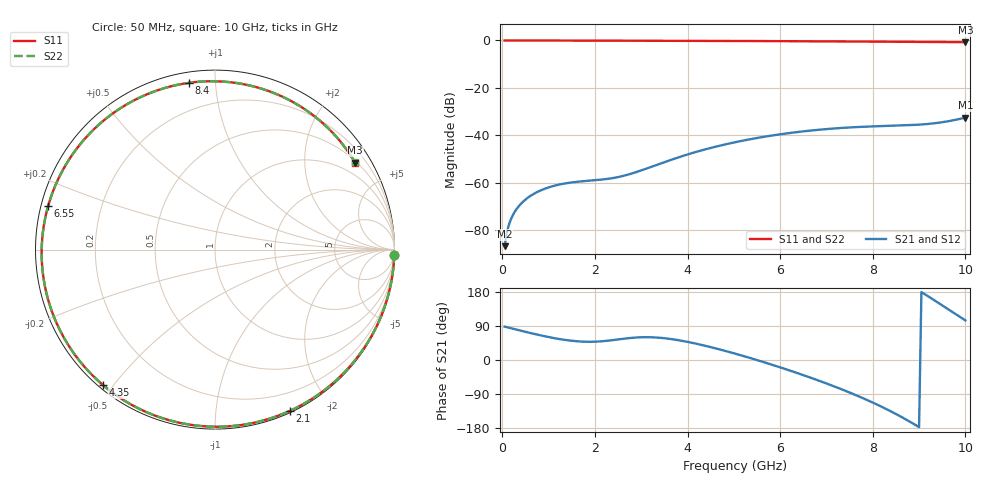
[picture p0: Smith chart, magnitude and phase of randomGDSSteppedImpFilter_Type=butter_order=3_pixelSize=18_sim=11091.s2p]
! freq	dB(S11)	phase(S11)	dB(S12)	phase(S12)
!  dB(S21)	phase(S21)	dB(S22)	phase(S22)
!S-par simulation data
#  GHz  S  DB  R 50
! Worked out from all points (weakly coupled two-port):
!   200 points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, 50 MHz to 10 GHz, reference 50 ohm
!   highest |S21| = -32.55 dB at 10 GHz (marker M1); lowest = -86.8 dB at 50 MHz (marker M2)
!   lowest |S11| = -0.7 dB at 10 GHz (marker M3), VSWR 23.55, Z = 27.7 + j172 ohm
!   |S11| at or under -10 dB: nowhere
!   |S22| runs from -0.7 to 0.0 dB; largest |S21 - S12| = 0
!   S11 on the Smith chart (normalised r, x): 50 MHz: 1, -71; 2.1 GHz: 0.02, -1.57; 4.35 GHz: 0.01, -0.47; 6.55 GHz: 0.02, +0.13; 8.4 GHz: 0.05, +0.85; 10 GHz: 0.55, +3.43
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0.05  -0.00 -1.6  -86.82 88.1  -86.82 88.1  -0.00 -1.6
0.1  -0.01 -3.2  -80.83 86.7  -80.83 86.7  -0.01 -3.2
0.2  -0.01 -6.4  -74.85 83.6  -74.85 83.6  -0.01 -6.4
0.35  -0.01 -11.1  -70.09 78.9  -70.09 78.9  -0.01 -11.1
0.65  -0.02 -20.6  -65.08 70.0  -65.08 70.0  -0.02 -20.6
1.1  -0.04 -34.7  -61.44 58.2  -61.44 58.2  -0.04 -34.7
1.75  -0.07 -54.6  -59.39 48.4  -59.39 48.4  -0.07 -54.5
2.1  -0.08 -65.0  -58.81 48.9  -58.81 48.9  -0.08 -65.0
2.75  -0.11 -84.1  -56.43 57.9  -56.43 57.9  -0.11 -84.1
3.4  -0.13 -102.8  -52.06 58.7  -52.06 58.7  -0.13 -102.7
4.35  -0.18 -129.6  -46.14 38.5  -46.14 38.5  -0.18 -129.5
5.05  -0.22 -149.4  -42.86 16.0  -42.86 16.0  -0.22 -149.3
5.85  -0.28 -172.8  -40.04 -13.5  -40.04 -13.5  -0.28 -172.7
6.55  -0.35 165.5  -38.25 -42.0  -38.25 -42.0  -0.35 165.6
6.7  -0.36 160.6  -37.95 -48.5  -37.95 -48.5  -0.36 160.8
7.5  -0.44 133.2  -36.72 -85.8  -36.72 -85.8  -0.44 133.4
8.35  -0.53 101.0  -36.05 -133.0  -36.05 -133.0  -0.53 101.2
8.4  -0.53 99.0  -36.02 -136.1  -36.02 -136.1  -0.53 99.2
8.8  -0.58 82.7  -35.75 -162.7  -35.75 -162.7  -0.58 83.0
9.15  -0.61 68.0  -35.31 171.6  -35.31 171.6  -0.62 68.3
9.55  -0.67 50.9  -34.36 140.2  -34.36 140.2  -0.67 51.3
10  -0.74 31.8  -32.55 104.5  -32.55 104.5  -0.74 32.2
